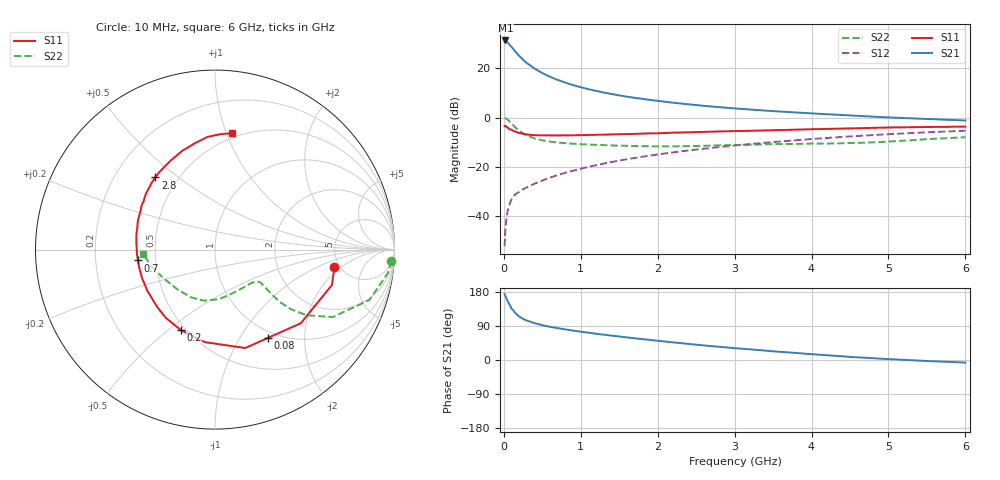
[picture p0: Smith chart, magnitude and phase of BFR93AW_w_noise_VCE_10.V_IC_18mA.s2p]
! Infineon Technologies  Discrete & RF Semiconductors
! BFR93AW
! VCE =  10. V,  IC =  18 mA
! Common Emitter S-Parameters:  Jan 2017
# GHz  S  MA  R  50
!  f  S11  S21  S12  S22
! GHz  MAG  ANG  MAG  ANG  MAG  ANG  MAG  ANG
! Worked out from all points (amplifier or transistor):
!   77 points, 10 MHz to 6 GHz, reference 50 ohm
!   highest |S21| = 31.2 dB at 20 MHz (marker M1)
!   |S21| within 3 dB of that: start of sweep to 110.6 MHz
!   unconditionally stable (mu >= 1): 743.8 MHz to 2.08 GHz
!   at 130 MHz: K = 0.40, MSG = 29.6 dB, |S12| = -31.8 dB
!   at 2.2 GHz: K = 0.99, MSG = 10.1 dB, |S12| = -14.1 dB
!   at 6 GHz: K = 0.85, MSG = 2.1 dB, |S12| = -5.3 dB
!   lowest NFmin = 1.47 dB at 450 MHz
!   S11 on the Smith chart (normalised r, x): 10 MHz: 4.51, -1.62; 80 MHz: 0.90, -1.33; 200 MHz: 0.47, -0.55; 700 MHz: 0.40, -0.06; 2.8 GHz: 0.38, +0.42; 6 GHz: 0.46, +1.04
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0.01  0.6729 -8.4  36.15 174.1  0.0025 83.4  0.9846 -3.8
0.02  0.6806 -16.9  36.19 169.1  0.0056 86.9  0.9715 -7.8
0.05  0.6301 -40.6  33.05 154.7  0.0129 72.4  0.9044 -18.1
0.08  0.5733 -59.3  28.94 144.4  0.0184 66.6  0.8113 -24.6
0.1  0.5737 -72.9  26.85 136.0  0.0221 64.4  0.7562 -29.8
0.15  0.5186 -96.3  21.5 123.4  0.028 57.1  0.6268 -35.7
0.2  0.4869 -113.1  17.55 114.9  0.0313 57.5  0.5375 -38.1
0.25  0.4687 -125.7  14.71 108.5  0.0355 56.2  0.4761 -38.8
0.3  0.4541 -135.1  12.56 103.9  0.0385 57.3  0.4312 -38.6
0.4  0.4411 -148.8  9.76 97.0  0.046 59.5  0.3769 -37.7
0.5  0.4361 -158.5  7.916 91.9  0.053 61.4  0.3455 -36.8
0.6  0.4345 -166.0  6.678 87.6  0.061 63.1  0.3258 -36.2
0.7  0.4336 -172.0  5.762 84.1  0.0684 65.4  0.312 -36.0
0.9  0.4365 178.6  4.521 77.6  0.0838 67.0  0.2954 -37.1
1.1  0.4442 170.7  3.747 72.1  0.1006 67.7  0.2845 -39.3
1.5  0.46 158.7  2.805 62.1  0.1346 67.5  0.2696 -46.5
2.1  0.4864 143.9  2.08 48.7  0.1879 64.8  0.261 -62.3
2.8  0.5218 129.6  1.62 34.8  0.2523 60.0  0.2731 -83.3
3.1  0.535 123.8  1.49 29.7  0.2806 57.4  0.2795 -91.7
4.1  0.5838 106.8  1.19 14.0  0.3768 47.9  0.2969 -120.0
5.1  0.6313 92.6  0.99 1.4  0.4678 37.0  0.3326 -153.5
6  0.6554 81.9  0.87 -6.9  0.5403 26.7  0.4001 -176.5
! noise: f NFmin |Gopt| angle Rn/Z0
0.45  1.47  0.13  155  0.14
0.9  1.74  0.23  172  0.15
1.9  2.74  0.47  -140  0.22
2.4  3.36  0.54  -127  0.43
